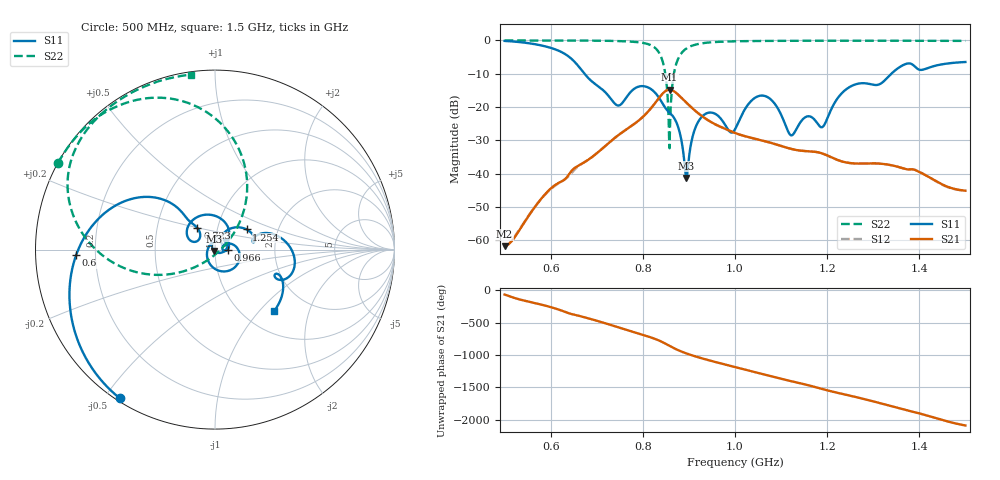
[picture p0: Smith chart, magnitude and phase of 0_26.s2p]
! TOUCHSTONE file generated by CST MICROWAVE STUDIO
! Date and time: Mon Sep 28 14:12:18 2020
! Project name: Scenario_1_Free_SPace.cst
! Parameters = {dx1=606; L_HA=400; MT=2.54; Rad_Dielectric=30; Rad_Lower=7.3; Rad_Upper=30; a_HA=580; a_WG=246; b_HA=500; b_WG=121; c_HA=0; c_WG=187; d_feed=85; h_feed=15; h_lower=18; h_upper=40}
! Header version: 2018
! Port assignment regex: !\s*Touchstone port\s*([0-9]+)\s*=\s*(CST MWS port|CST DS port)\s*([0-9]+|Zmin|Zmax)\s*\(\"(.*)\"\)(\s*mode\s*([0-9]+))?.*
! Touchstone port assignment:
! Touchstone port 1 = CST MWS port 1 ("")
! Touchstone port 2 = CST MWS port 2 ("")
# GHz S DB R 50
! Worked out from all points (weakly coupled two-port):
!   1003 points, 500 MHz to 1.5 GHz, reference 50 ohm
!   highest |S21| = -14.75 dB at 858 MHz (marker M1); lowest = -61.7 dB at 500 MHz (marker M2)
!   lowest |S11| = -41.2 dB at 894 MHz (marker M3), VSWR 1.02, Z = 49.5 - j0.685 ohm
!   |S11| at or under -10 dB: 673.5 MHz to 1.339 GHz (665.7 MHz wide, 66.2 % of centre)
!   |S22| runs from -32.3 to 0.0 dB; largest |S21 - S12| = 0.00086
!   S11 on the Smith chart (normalised r, x): 500 MHz: 0.01, -0.55; 600 MHz: 0.13, -0.02; 723 MHz: 0.80, +0.20; 966 MHz: 1.15, -0.00; 1.254 GHz: 1.39, +0.32; 1.5 GHz: 1.37, -1.21
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0.5  -0.15 -122.7  -61.71 -66.3  -61.71 -66.3  -0.01 151.1
0.6  -2.22 -177.7  -44.44 99.9  -44.64 99.1  -0.02 144.1
0.667  -8.88 133.6  -37.03 -45.3  -37.06 -45.9  -0.04 138.3
0.723  -16.22 129.2  -31.10 -159.0  -31.11 -158.9  -0.11 131.8
0.748  -19.52 148.6  -28.29 145.3  -28.29 145.2  -0.20 127.7
0.792  -13.80 131.4  -23.91 49.0  -23.91 49.0  -0.58 116.5
0.834  -16.97 58.6  -17.44 -52.5  -17.45 -52.5  -3.43 84.8
0.846  -19.64 41.5  -15.53 -92.6  -15.53 -92.6  -7.97 63.3
0.858  -21.68 28.3  -14.75 -138.3  -14.75 -138.3  -32.34 -76.0
0.87  -23.76 4.7  -15.48 177.5  -15.48 177.5  -8.26 -158.9
0.894  -41.23 -127.1  -18.60 106.5  -18.60 106.5  -2.47 172.3
0.922  -23.98 78.6  -22.04 42.2  -22.04 42.2  -1.02 157.4
0.966  -22.97 -0.1  -25.75 -43.0  -25.75 -43.1  -0.41 145.7
1  -26.66 20.9  -27.74 -105.5  -27.75 -105.5  -0.26 140.2
1.055  -16.57 -27.5  -29.87 156.1  -29.87 156.1  -0.16 133.9
1.085  -18.77 -83.4  -31.00 101.1  -31.01 101.1  -0.13 131.0
1.121  -28.42 157.7  -32.50 38.4  -32.50 38.4  -0.11 127.9
1.167  -23.07 27.0  -33.31 -40.3  -33.31 -40.3  -0.10 124.2
1.191  -25.85 44.4  -33.98 -86.6  -33.98 -86.6  -0.09 122.3
1.254  -13.59 32.4  -36.85 166.4  -36.84 166.3  -0.08 117.5
1.334  -10.72 18.5  -37.29 22.5  -37.29 22.6  -0.09 111.4
1.5  -6.47 -46.0  -45.06 74.0  -45.05 73.1  -0.14 97.8
